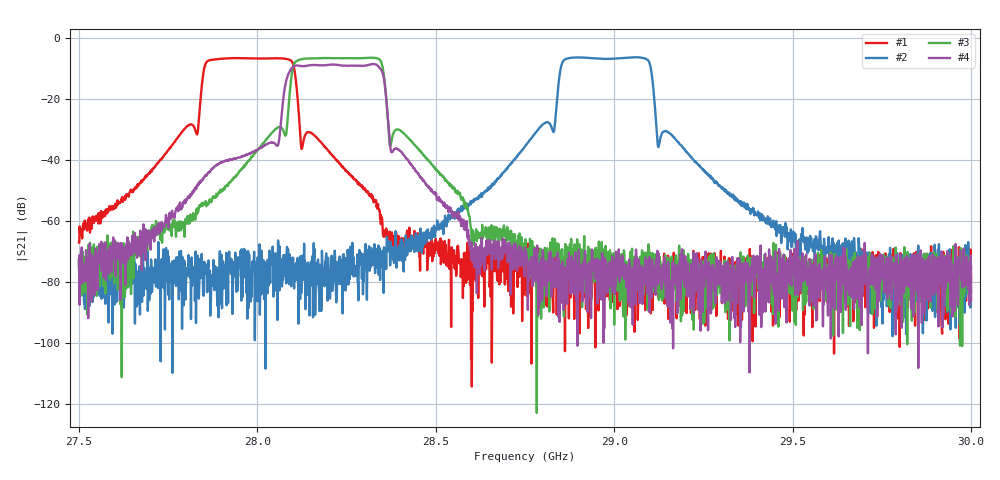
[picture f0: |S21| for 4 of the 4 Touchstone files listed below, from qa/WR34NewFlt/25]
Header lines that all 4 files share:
!Keysight Technologies,N5234A,MY55441357,A.10.47.05
!Correction: S11(Full 2 Port(1,2))
!S21(Full 2 Port(1,2))
!S12(Full 2 Port(1,2))
!S22(Full 2 Port(1,2))
!S2P File: Measurements: S11, S21, S12, S22:
# Hz S  dB  R 50
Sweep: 27.5 GHz to 30 GHz
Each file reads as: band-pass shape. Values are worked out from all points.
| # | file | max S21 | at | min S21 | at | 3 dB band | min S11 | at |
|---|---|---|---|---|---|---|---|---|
| 1 | 28G_J1.s2p | -6.54 dB | 27.94 GHz | -114.3 dB | 28.6 GHz | 27.85 GHz-28.1 GHz | -57.6 dB | 28.5 GHz |
| 2 | 28G_J3.s2p | -6.26 dB | 29.06 GHz | -109.8 dB | 27.76 GHz | 28.85 GHz-29.1 GHz | -57.6 dB | 28.28 GHz |
| 3 | 28G_J7.s2p | -6.42 dB | 28.32 GHz | -123.0 dB | 28.78 GHz | 28.1 GHz-28.35 GHz | -75.0 dB | 28.49 GHz |
| 4 | 128G_J7.s2p | -8.45 dB | 28.32 GHz | -109.7 dB | 29.38 GHz | 28.09 GHz-28.35 GHz | -37.4 dB | 27.75 GHz |
